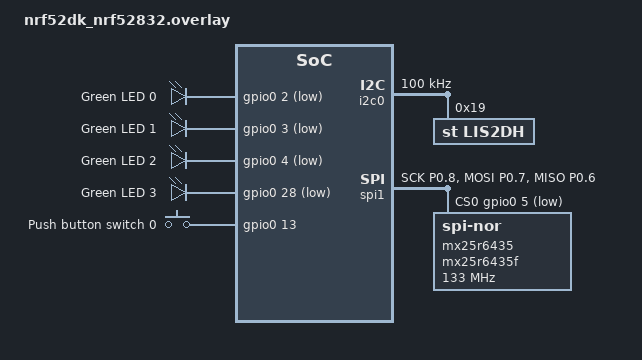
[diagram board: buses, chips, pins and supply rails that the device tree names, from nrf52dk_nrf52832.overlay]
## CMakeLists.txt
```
cmake_minimum_required(VERSION 3.20.0)
find_package(Zephyr REQUIRED HINTS $ENV{ZEPHYR_BASE})

project(ow_BLE_logger)

target_sources(app PRIVATE src/main.c)
```

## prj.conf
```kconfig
#
# General kernel options
#
CONFIG_MAIN_STACK_SIZE=2048
CONFIG_IDLE_STACK_SIZE=512
CONFIG_ISR_STACK_SIZE=2048
CONFIG_SYSTEM_WORKQUEUE_STACK_SIZE=4096
CONFIG_HEAP_MEM_POOL_SIZE=4096
CONFIG_MULTITHREADING=y

#
# Logging / Debugging
#
CONFIG_LOG=y
CONFIG_LOG_MODE_IMMEDIATE=y
CONFIG_SENSOR_LOG_LEVEL_DBG=y
CONFIG_DEBUG_OPTIMIZATIONS=y
CONFIG_COMPILER_OPT=""
CONFIG_CBPRINTF_FP_SUPPORT=y
CONFIG_STDOUT_CONSOLE=y

#
# Power management
#
CONFIG_PM_DEVICE=y
CONFIG_BT_ID_MAX=2
CONFIG_BT_BROADCASTER=y  
CONFIG_BT_PER_ADV=y
#
# Bluetooth
#
CONFIG_BT=y
CONFIG_BT_DEBUG_LOG=y
CONFIG_BT_EXT_ADV=y
CONFIG_BT_PERIPHERAL=y
CONFIG_BT_GATT_CLIENT=n
CONFIG_BT_CENTRAL=n
CONFIG_BT_OBSERVER=n
CONFIG_BT_DEVICE_NAME="DataLogger1"
CONFIG_NODE_ID=11
CONFIG_SENSOR_ADDRESS="DE:AD:BE:AF:BA:55"
CONFIG_LIS2DH_ACCEL_RANGE_2G=y
CONFIG_BT_CTLR_ADV_EXT=y
CONFIG_BT_CTLR_ADV_DATA_LEN_MAX=251  
CONFIG_BT_CTLR_TX_PWR_PLUS_4=y

#
# GPIO / Button / LED
#
CONFIG_GPIO=y

#
# I2C / Sensor (LIS2DH accelerometer)
#
CONFIG_I2C=y
CONFIG_SENSOR=y
CONFIG_LIS2DH=y

#
# Flash / QSPI NOR external memory
#
CONFIG_FLASH=y
CONFIG_SPI=y
CONFIG_SPI_NOR=y
CONFIG_NORDIC_QSPI_NOR=y
CONFIG_NORDIC_QSPI_NOR_FLASH_LAYOUT_PAGE_SIZE=4096
# CONFIG_NORDIC_QSPI_NOR_STACK_WRITE_BUFFER_SIZE=16  # enable if needed
# CONFIG_NRFX_QSPI=y                                # enable if you want raw QSPI


# Flash map and partition manager
CONFIG_FLASH_MAP=y
CONFIG_FLASH=y
CONFIG_FLASH_PAGE_LAYOUT=y
#
# PWM (if needed later)
#
# CONFIG_SERIAL=n   # enable when data logging over UART is not needed
# CONFIG_LOG=n
```

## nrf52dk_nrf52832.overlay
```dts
&i2c0 {
    compatible = "nordic,nrf-twim";
    status = "okay";
    clock-frequency = <I2C_BITRATE_STANDARD>;
    lis2dh@19 {
        status = "okay";
        compatible = "st,lis2dh";
        reg = <0x19>;
        label = "LIS2DH";
    };
};

&spi1 {
    compatible = "nordic,nrf-spi";
    status = "okay";
    // cs-gpios = <&gpio0 22 GPIO_ACTIVE_LOW>;
    cs-gpios = <&gpio0 5 GPIO_ACTIVE_LOW>;   //Enable for Node Configuration Only
    pinctrl-0 = <&spi1_default>;
    pinctrl-1 = <&spi1_sleep>;
    pinctrl-names = "default", "sleep";
    // w25q16dv: w25q16dv@0 {/*Winbond flash*/
        //     compatible = "jedec,spi-nor";
        //     reg = <0>;
        //     spi-max-frequency = <133000000>;
        //     jedec-id = [ ef 40 15  ];
        //     size = <16777216>;//2Mb flash(16777216 bits)
    // };
    mx25r6435: mx25r6435f@0 {/*Macronix flash*/
        compatible = "jedec,spi-nor";
        reg = <0>;
        spi-max-frequency = <133000000>;
        jedec-id = [ c2 28 17  ];
        size = <67108864>;//8Mb flash
    };
};


/ {
    aliases{
        // spi-flash0 = &w25q16dv; //Winbond flash
        spi-flash0 = &mx25r6435;    //Mmacronix flash
    };
};



&pinctrl {
    uart0_default: uart0_default {
        group1 {
            psels = <NRF_PSEL(UART_TX, 0, 24)>,
                    <NRF_PSEL(UART_RX, 0, 23)>;

        };
    };

    uart0_sleep: uart0_sleep {
        group1 {
            psels = <NRF_PSEL(UART_TX, 0, 24)>,    //6
            <NRF_PSEL(UART_RX, 0, 23)>;       //8

            low-power-enable;
        };
    };

    spi1_default: spi1_default {
        group1 {
            psels = <NRF_PSEL(SPIM_SCK, 0, 8)>,
                    <NRF_PSEL(SPIM_MOSI, 0, 7)>,
                    <NRF_PSEL(SPIM_MISO, 0, 6)>;
        };
    };

    spi1_sleep: spi1_sleep {
        group1 {
            psels = <NRF_PSEL(SPIM_SCK, 0, 8)>,
                    <NRF_PSEL(SPIM_MOSI, 0, 7)>,
                    <NRF_PSEL(SPIM_MISO, 0, 6)>;
            low-power-enable;
        };
    };

    i2c0_default: i2c0_default {
        group1 {
            psels = <NRF_PSEL(TWIM_SDA, 0, 26)>,
                    <NRF_PSEL(TWIM_SCL, 0, 25)>;
        };
    };

    i2c0_sleep: i2c0_sleep {
        group1 {
            psels = <NRF_PSEL(TWIM_SDA, 0, 26)>,
                    <NRF_PSEL(TWIM_SCL, 0, 25)>;
            low-power-enable;
        };
    };
};


/ {
    leds {
        compatible = "gpio-leds";
        led0: led_0 {
            gpios = <&gpio0 2 GPIO_ACTIVE_LOW>;
            label = "Green LED 0";
        };
        led1: led_1 {
            gpios = <&gpio0 3 GPIO_ACTIVE_LOW>;
            label = "Green LED 1";
        };
        led2: led_2 {
            gpios = <&gpio0 4 GPIO_ACTIVE_LOW>;
            label = "Green LED 2";
        };
        led3: led_3 {
            gpios = <&gpio0 28 GPIO_ACTIVE_LOW>;
            label = "Green LED 3";
        };
    };

    buttons {
        compatible = "gpio-keys";
        button0: button_0 {
            gpios = <&gpio0 13 (GPIO_PULL_UP | GPIO_ACTIVE_HIGH)>;
            label = "Push button switch 0";
            zephyr,code = <INPUT_KEY_0>;
        };
    };
};
```

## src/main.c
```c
/* ========================================================
 * Accelerometer Data Logger with Flash + Extended BLE Advertisements of 236 bytes
 * Target: nRF52832 with Zephyr RTOS
 * ======================================================== */

#include <zephyr/zephyr.h>
#include <zephyr/kernel.h>
#include <zephyr/device.h>
#include <zephyr/devicetree.h>
#include <zephyr/drivers/gpio.h>
#include <zephyr/drivers/sensor.h>
#include <zephyr/drivers/flash.h>
#include <zephyr/bluetooth/bluetooth.h>
#include <zephyr/bluetooth/controller.h>
#include <zephyr/pm/pm.h>
#include <hal/nrf_gpio.h>
#include <stdio.h>
#include <stdint.h>
#include <string.h>
#include <stdlib.h>

/* ============================
 * Flash Layout (2MB & 8MB Supported)
 * ============================ */
#define FLASH_START_ADDR 0x00000000            // Flash start address
#define FLASH_TOTAL_SIZE_8MB (8 * 1024 * 1024) // 8MB flash
#define FLASH_TOTAL_SIZE_2MB (2 * 1024 * 1024) // 2MB flash
#define SPI_FLASH_SECTOR_SIZE 4096             // Sector size = 4KB

#if defined(CONFIG_FLASH_SIZE_8MB)
#define FLASH_TOTAL_SIZE FLASH_TOTAL_SIZE_8MB
#else
#define FLASH_TOTAL_SIZE FLASH_TOTAL_SIZE_2MB
#endif

#define FLASH_END_ADDR (FLASH_START_ADDR + FLASH_TOTAL_SIZE)                               // Flash end
#define FLASH_STATE_SIZE 0x1000                                                            // 4KB reserved for state
#define FLASH_RESET_BACKUP_SIZE 0x1000                                                     // 4KB reserved for reset backup
#define FLASH_STORAGE_SIZE (FLASH_TOTAL_SIZE - FLASH_STATE_SIZE - FLASH_RESET_BACKUP_SIZE) // Usable area
#define FLASH_STORAGE_ADDR FLASH_START_ADDR                                                // Data starts at 0x0
#define FLASH_STATE_ADDR (FLASH_STORAGE_ADDR + FLASH_STORAGE_SIZE)                         // State offset
#define FLASH_RESET_BACKUP_ADDR (FLASH_STATE_ADDR + FLASH_STATE_SIZE)                      // Reset backup offset

static int flashLimit = (int)FLASH_STORAGE_SIZE;
static int save_location = (int)FLASH_STATE_ADDR;
static const int STATE_ADDR = (int)FLASH_STATE_ADDR;
static const int STATE_SIZE = (int)FLASH_STATE_SIZE;

/* ============================
 * Global Variables
 * ============================ */
K_MUTEX_DEFINE(testMutex);

/* Flash / State variables */
static int writeIndex = 0;
static int readIndex = 0;
static int package_count = 0;
static int file_count = 0;
static int write_storage[2] = {0, 0};
/* TX Buffer Config */
#define TX_HEADER_SIZE 2
#define TX_PAYLOAD_SIZE 231
#define TX_FOOTER_SIZE 3
#define TX_PACKET_SIZE 256
#define TX_BUFFER_SIZE TX_PACKET_SIZE                                     // Keep for compatibility
#define TX_VALID_SIZE (TX_HEADER_SIZE + TX_PAYLOAD_SIZE + TX_FOOTER_SIZE) // Header + Payload + Footer = 236 bytes
// #define TX_PACKET_SIZE (TX_HEADER_SIZE + TX_PAYLOAD_SIZE + TX_FOOTER_SIZE) // Total = 256 bytes

static uint8_t tx_buffer[TX_BUFFER_SIZE] = {0}; // 0..255 → 256 bytes
uint8_t dummy_buf[TX_VALID_SIZE] = {0};         // All zeros
static bool dummy_sent = false;                 // <-- Add this as a static/global variable
static uint8_t mfg_data[TX_VALID_SIZE] = {0};   // Match size exactly to avoid overflow
static uint8_t tx_index = 0;
static uint8_t packet_id = 1;

/* BLE / Advertising Variables */
static struct bt_le_ext_adv *adv;
static struct bt_le_adv_param adv_param = BT_LE_ADV_PARAM_INIT(
    BT_LE_ADV_OPT_NONE | BT_LE_ADV_OPT_EXT_ADV | BT_LE_ADV_OPT_USE_IDENTITY | BT_LE_ADV_OPT_NO_2M,
    0x30, 0x30, NULL);

static struct bt_le_ext_adv_start_param ext_adv_param = BT_LE_EXT_ADV_START_PARAM_INIT(0, 1);
static const struct bt_data ap[] = {
    BT_DATA(BT_DATA_MANUFACTURER_DATA, mfg_data, sizeof(mfg_data)), // 236 bytes of data
    BT_DATA(BT_DATA_NAME_COMPLETE, CONFIG_BT_DEVICE_NAME, sizeof(CONFIG_BT_DEVICE_NAME) - 1),
};
static const struct bt_data ad[] = {
    BT_DATA(BT_DATA_NAME_COMPLETE, CONFIG_BT_DEVICE_NAME, sizeof(CONFIG_BT_DEVICE_NAME) - 1),
};

/* Button + LED Config */
#define SW0_NODE DT_ALIAS(sw0)
static const struct gpio_dt_spec button = GPIO_DT_SPEC_GET_OR(SW0_NODE, gpios, {0});
static const struct gpio_dt_spec led0 = GPIO_DT_SPEC_GET(DT_ALIAS(led0), gpios);
static const struct gpio_dt_spec led1 = GPIO_DT_SPEC_GET(DT_ALIAS(led1), gpios);

/* Sensor Config */
static const struct device *sensor = DEVICE_DT_GET_ANY(st_lis2dh);
#define nodeId CONFIG_NODE_ID
#define sensorAddress CONFIG_SENSOR_ADDRESS

/* Work & Timer */
static struct k_work adver_work;
static struct k_timer button_timer;
static struct k_work acc_data_work;
static struct k_timer acc_data_timer;
static volatile bool task2_active = false;

/* ============================
 * Utility Functions
 * ============================ */
static inline double roundOff(float value)
{
    return (value > 0) ? (value + 0.5f) : (value - 0.5f);
}

struct sys_state
{
    int writeIndex;
    int file_count;
    int readIndex;
} state;

/* ============================
 * Flash State Save/Restore
 * ============================ */
void save_state(const struct device *flashDev)
{
    state.writeIndex = writeIndex;
    state.file_count = file_count;
    state.readIndex = readIndex;

    if (flash_erase(flashDev, STATE_ADDR, STATE_SIZE))
    {
        printk("Flash erase failed\n");
        return;
    }
    if (flash_write(flashDev, STATE_ADDR, &state, sizeof(state)))
    {
        printk("Flash write failed\n");
        return;
    }
    printk("State saved: writeIndex=%d file_count=%d readIndex=%d\n", writeIndex, file_count, readIndex);
}

void restore_state(const struct device *flashDev)
{
    struct sys_state tmp;
    if (flash_read(flashDev, STATE_ADDR, &tmp, sizeof(tmp)))
    {
        printk("Flash read failed\n");
        return;
    }
    if (tmp.writeIndex == -1 || tmp.writeIndex > FLASH_END_ADDR)
    {
        printk("No valid state found, starting fresh\n");
        writeIndex = file_count = readIndex = 0;
    }
    else
    {
        writeIndex = tmp.writeIndex;
        file_count = tmp.file_count;
        readIndex = tmp.readIndex;
        printk("Restored -> writeIndex=%d, file_count=%d, readIndex=%d\n", writeIndex, file_count, readIndex);
    }
}

/* ============================
 * BLE Setup & Transmission
 * ============================ */
void set_random_static_address(void)
{
    bt_addr_le_t addr;
    if (bt_addr_le_from_str(sensorAddress, "random", &addr))
    {
        printk("Invalid BT address\n");
    }
    if (bt_id_create(&addr, NULL) < 0)
    {
        printk("Creating new ID failed\n");
    }
    else
    {
        printk("Created new address\n");
    }
}

void adv_param_init(void)
{
    if (bt_le_ext_adv_create(&adv_param, NULL, &adv))
    {
        printk("Failed to create advertising set\n");
    }
    else
    {
        printk("Created extended advertising set\n");
    }
}

void transmit_name()
{
    if (bt_le_ext_adv_set_data(adv, ad, ARRAY_SIZE(ad), NULL, 0))
    {
        printk("Failed to set adv data\n");
        return;
    }
    printk("\nStart Extended Advertising...\n");
    if (bt_le_ext_adv_start(adv, &ext_adv_param))
    {
        printk("Failed to start advertising\n");
        return;
    }
    k_msleep(100);
    bt_le_ext_adv_stop(adv);
    printk("Stopped advertising.\n\n");
}
void transmit_data()
{
    if (bt_le_ext_adv_set_data(adv, ap, ARRAY_SIZE(ap), NULL, 0))
    {
        printk("Failed to set adv data\n");
        return;
    }
    printk("\nStart Extended Advertising...\n");
    if (bt_le_ext_adv_start(adv, &ext_adv_param))
    {
        printk("Failed to start advertising\n");
        return;
    }
    k_msleep(100);
    bt_le_ext_adv_stop(adv);
    printk("Stopped advertising.\n\n");
}

/* ============================
 * Flash Write Logic
 * ============================ */
static int write_to_flash(uint8_t *data, size_t len)
{
    if (task2_active)
    {
        printk("Task2 active -> skipping flash write\n");
        bt_le_ext_adv_stop(adv);
        return 1;
    }
    const struct device *flashDev = DEVICE_DT_GET(DT_ALIAS(spi_flash0));
    if (writeIndex % SPI_FLASH_SECTOR_SIZE == 0)
    {
        if (flash_erase(flashDev, writeIndex, SPI_FLASH_SECTOR_SIZE))
        {
            printk("Flash erase failed\n");
            return -1;
        }
        printk("Erased sector at 0x%08X\n", writeIndex);
    }
    if (flash_write(flashDev, writeIndex, data, len))
    {
        printk("Flash write failed\n");
        return -1;
    }
    printk("Wrote %d bytes to flash at 0x%08X\n", len, writeIndex);
    writeIndex = (writeIndex + len) % flashLimit;
    if (writeIndex % TX_PAYLOAD_SIZE == 0)
        file_count++;
    save_state(flashDev);
    return 0;
}

/* ============================
 * Accelerometer Fetch + Advertise
 * ============================ */
void fetch_acc_data(void)
{
    if (task2_active)
    {
        printk("Skipping advertising & flash (Task2 active)\n");
        bt_le_ext_adv_stop(adv);
        return;
    }

    if (!device_is_ready(sensor))
    {
        printk("Sensor not ready\n");
        return;
    }

    struct sensor_value accel[3];
    if (sensor_sample_fetch(sensor) == 0 &&
        sensor_channel_get(sensor, SENSOR_CHAN_ACCEL_XYZ, accel) == 0)
    {
        /* Convert accelerometer values to scaled int8_t */
        int8_t xLsb = (int8_t)(roundOff(accel[0].val1 * 6.4 + accel[0].val2 * 0.0000064));
        int8_t yLsb = (int8_t)(roundOff(accel[1].val1 * 6.4 + accel[1].val2 * 0.0000064));
        int8_t zLsb = (int8_t)(roundOff(accel[2].val1 * 6.4 + accel[2].val2 * 0.0000064));

        /* If this is the first sample in a new packet, clear buffer & set header */
        if (tx_index == 0)
        {
            memset(tx_buffer, 0x00, TX_PACKET_SIZE); // Clear full buffer
            tx_buffer[0] = 0x59;                     // Header byte 1
            tx_buffer[1] = 0x00;                     // Header byte 2
        }

        /* Append 3-axis data into buffer */
        tx_buffer[TX_HEADER_SIZE + tx_index++] = xLsb;
        tx_buffer[TX_HEADER_SIZE + tx_index++] = yLsb;
        tx_buffer[TX_HEADER_SIZE + tx_index++] = zLsb;

        printk("X=%d Y=%d Z=%d (tx_index=%d)\n", xLsb, yLsb, zLsb, tx_index); /* printing x , y , z values */

        /* Once we reach 231 bytes of data, finalize and write */
        if (tx_index >= 231)
        {
            tx_buffer[TX_HEADER_SIZE + TX_PAYLOAD_SIZE + 0] = packet_id++; // Packet ID
            tx_buffer[TX_HEADER_SIZE + TX_PAYLOAD_SIZE + 1] = 0x00;        // Reserved
            tx_buffer[TX_HEADER_SIZE + TX_PAYLOAD_SIZE + 2] = 0xFF;        // Footer

            write_to_flash(tx_buffer, TX_PACKET_SIZE); // Write full 256 bytes

            tx_index = 0; // Reset for next packet
        }
    }
}

/* ============================
 * Advertisement Replay Task
 * ============================ */
void adver(void)
{
    while (1)
    {
        int val = gpio_pin_get_dt(&button);
        const struct device *flashDev = DEVICE_DT_GET(DT_ALIAS(spi_flash0));
        if (!device_is_ready(flashDev))
            return;

        static int64_t last_tx_time = 0; // Keeps track of last transmission time
        int64_t now = k_uptime_get();
        bool send_name = false;

        // Decide if we should send name (dummy packets)
        if ((now - last_tx_time) > 5000) // If more than 5 sec gap
        {
            send_name = true;
        }
        /* Long press -> reset flash */
        time_t reset_time = k_uptime_get();
        while (val != 1)
        {
            if (k_uptime_get() - reset_time > 5000)
            {
                writeIndex = readIndex = file_count = package_count = packet_id = tx_index = 0;
                write_storage[0] = writeIndex;
                write_storage[1] = file_count;

                k_mutex_lock(&testMutex, K_FOREVER);
                gpio_pin_set_dt(&led1, 1);
                flash_erase(flashDev, save_location, SPI_FLASH_SECTOR_SIZE);
                flash_write(flashDev, save_location, write_storage, sizeof(write_storage));
                gpio_pin_set_dt(&led1, 0);
                k_mutex_unlock(&testMutex);
                printk("Data reset done\n");
                k_msleep(100);
                break;
            }
            val = gpio_pin_get_dt(&button);
        }

        if (val == 1)
        {
            task2_active = true;
            uint32_t pending = (writeIndex >= readIndex) ? (writeIndex - readIndex) : (flashLimit - readIndex + writeIndex);

            if (pending == 0)
            {
                printk("No data to send, starting new fetch\n");
                task2_active = false;
                k_work_submit(&acc_data_work);
                return;
            }

            if (readIndex >= flashLimit)
                readIndex = 0;

            while (pending >= TX_PACKET_SIZE)
            {
                uint32_t chunk = (pending >= TX_PACKET_SIZE) ? TX_PACKET_SIZE : pending;

                /* Read only header+payload+footer from flash */
                if (flash_read(flashDev, readIndex, tx_buffer, TX_VALID_SIZE))
                    break;

                /* ---- Send dummy/name packets only if required ---- */
                if (send_name)
                {
                    for (int pkt = 0; pkt < 20; pkt++)
                    {
                        transmit_name();
                    }
                    send_name = false; // Done once
                }

                /* -------- 2) Now Transmit Actual Data -------- */
                memcpy(mfg_data, tx_buffer, TX_VALID_SIZE);

                printk("Read %d bytes from flash [0x%08X → 0x%08X]\n",
                       chunk, (unsigned int)readIndex, (unsigned int)(readIndex + chunk - 1));
                for (int i = 0; i < TX_VALID_SIZE; i++)
                {
                    printk("%d ", mfg_data[i]);
                    if ((i + 1) % 16 == 0)
                        printk("\n");
                }
                printk("\n");
                gpio_pin_set_dt(&led0, 1);
                transmit_data();
                gpio_pin_set_dt(&led0, 0);

                /* Move to next packet in flash */
                readIndex = (readIndex + chunk) % flashLimit;
                pending -= chunk;
                save_state(flashDev);

                last_tx_time = now; // Update timestamp after successful transmission
            }
            task2_active = false;
        }
        k_msleep(500);
        break;
    }
}

// void adver(void)
// {
//     while (1)
//     {
//         int val = gpio_pin_get_dt(&button);
//         const struct device *flashDev = DEVICE_DT_GET(DT_ALIAS(spi_flash0));
//         if (!device_is_ready(flashDev))
//             return;

//         /* Long press -> reset flash */
//         time_t reset_time = k_uptime_get();
//         while (val != 1)
//         {
//             if (k_uptime_get() - reset_time > 5000)
//             {
//                 writeIndex = readIndex = file_count = package_count = packet_id = tx_index = 0;
//                 write_storage[0] = writeIndex;
//                 write_storage[1] = file_count;

//                 k_mutex_lock(&testMutex, K_FOREVER);
//                 gpio_pin_set_dt(&led1, 1);
//                 flash_erase(flashDev, save_location, SPI_FLASH_SECTOR_SIZE);
//                 flash_write(flashDev, save_location, write_storage, sizeof(write_storage));
//                 gpio_pin_set_dt(&led1, 0);
//                 k_mutex_unlock(&testMutex);
//                 printk("Data reset done\n");
//                 k_msleep(100);
//                 break;
//             }
//             val = gpio_pin_get_dt(&button);
//         }

//         if (val == 1)
//         {
//             task2_active = true;
//             uint32_t pending = (writeIndex >= readIndex) ? (writeIndex - readIndex) : (flashLimit - readIndex + writeIndex);

//             if (pending == 0)
//             {
//                 printk("No data to send, starting new fetch\n");
//                 task2_active = false;
//                 k_work_submit(&acc_data_work);
//                 return;
//             }

//             if (readIndex >= flashLimit)
//                 readIndex = 0;

//             while (pending >= TX_BUFFER_SIZE)
//             {
//                 uint32_t chunk = (pending >= TX_PACKET_SIZE) ? TX_PACKET_SIZE : pending;
//                 if (flash_read(flashDev, readIndex, tx_buffer, TX_VALID_SIZE))

//                     break;
//                 memcpy(mfg_data, tx_buffer, TX_VALID_SIZE);

//                 /* printing buffer data*/
//                 printk("Read %d bytes from flash [0x%08X → 0x%08X]\n",
//                        chunk, (unsigned int)readIndex, (unsigned int)(readIndex + chunk - 1));
// for (int i = 0; i < TX_VALID_SIZE; i++)
// {
//     printk("%02X ", tx_buffer[i]);
//     if ((i + 1) % 16 == 0)
//         printk("\n");
// }
// printk("\n");

//                 gpio_pin_set_dt(&led0, 1);
//                 transmit_data();
//                 gpio_pin_set_dt(&led0, 0);

//                 readIndex = (readIndex + chunk) % flashLimit;
//                 pending -= chunk;
//                 save_state(flashDev);
//             }
//             task2_active = false;
//         }
//         k_msleep(500);
//         break;
//     }
// }

/* ============================
 * Button Timer Handler
 * ============================ */
static void button_timer_handler(struct k_timer *dummy)
{
    if (gpio_pin_get_dt(&button) == 0)
    {
        k_work_submit(&adver_work);
    }
}
/* --- Timer Handler: submit accelerometer read work --- */
static void acc_timer_handler(struct k_timer *timer_id)
{
    k_work_submit(&acc_data_work);
}

/* ============================
 * Initialization & Main
 * ============================ */
void sensor_init(void)
{
    gpio_pin_configure_dt(&led0, GPIO_OUTPUT_ACTIVE);
    gpio_pin_configure_dt(&led1, GPIO_OUTPUT_ACTIVE);
    gpio_pin_set_dt(&led0, 0);
    gpio_pin_set_dt(&led1, 0);

    if (!gpio_is_ready_dt(&button))
    {
        printk("Button not ready\n");
        return;
    }
    gpio_pin_configure_dt(&button, GPIO_INPUT);
    k_msleep(4000);
}

int main(void)
{
    sensor_init();
    printk("Starting Data Logger Node\n");

    set_random_static_address();
    int err = bt_enable(NULL); // Enable Bluetooth stack initialization
    if (err)                   // Check if there was an error in initializing the Bluetooth stack
    {
        printk("Bluetooth init failed (err %d)\n", err); // Print an error message indicating the failure to initialize Bluetooth
        return;
    }
    adv_param_init();
    k_msleep(100);

    const struct device *flashDev = DEVICE_DT_GET(DT_ALIAS(spi_flash0));
    if (!device_is_ready(flashDev))
        return -1;
    restore_state(flashDev);

    k_work_init(&adver_work, (k_work_handler_t)adver);
    k_timer_init(&button_timer, button_timer_handler, NULL);
    k_timer_start(&button_timer, K_MSEC(50), K_MSEC(50));

    /* --- Accelerometer data timer: fires every 500ms --- */
    k_work_init(&acc_data_work, (k_work_handler_t)fetch_acc_data);
    k_timer_init(&acc_data_timer, acc_timer_handler, NULL);
    k_timer_start(&acc_data_timer, K_MSEC(0), K_MSEC(100));

    while (1)
    {
        k_sleep(K_FOREVER);
    }
    return 0; // always return something
}
```
